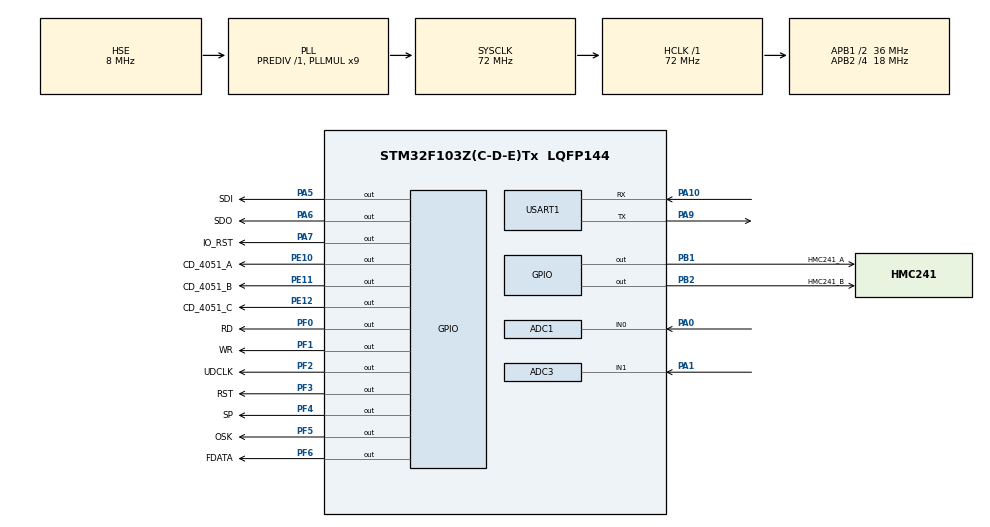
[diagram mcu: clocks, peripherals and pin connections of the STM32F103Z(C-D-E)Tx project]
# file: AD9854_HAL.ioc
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ADC1.Channel-0\#ChannelRegularConversion=ADC_CHANNEL_0
ADC1.ExternalTrigConv=ADC_EXTERNALTRIGCONV_T8_TRGO
ADC1.NbrOfConversionFlag=1
ADC1.Rank-0\#ChannelRegularConversion=1
ADC1.SamplingTime-0\#ChannelRegularConversion=ADC_SAMPLETIME_1CYCLE_5
ADC1.master=1
ADC3.Channel-1\#ChannelRegularConversion=ADC_CHANNEL_1
ADC3.ContinuousConvMode=DISABLE
ADC3.ExternalTrigConv=ADC_EXTERNALTRIGCONV_T8_TRGO
ADC3.NbrOfConversionFlag=1
ADC3.Rank-1\#ChannelRegularConversion=1
ADC3.SamplingTime-1\#ChannelRegularConversion=ADC_SAMPLETIME_1CYCLE_5
Dma.ADC1.0.Direction=DMA_PERIPH_TO_MEMORY
Dma.ADC1.0.Instance=DMA1_Channel1
Dma.ADC1.0.MemDataAlignment=DMA_MDATAALIGN_HALFWORD
Dma.ADC1.0.MemInc=DMA_MINC_ENABLE
Dma.ADC1.0.Mode=DMA_NORMAL
Dma.ADC1.0.PeriphDataAlignment=DMA_PDATAALIGN_HALFWORD
Dma.ADC1.0.PeriphInc=DMA_PINC_DISABLE
Dma.ADC1.0.Priority=DMA_PRIORITY_HIGH
Dma.ADC3.1.Direction=DMA_PERIPH_TO_MEMORY
Dma.ADC3.1.Instance=DMA2_Channel5
Dma.ADC3.1.MemDataAlignment=DMA_MDATAALIGN_HALFWORD
Dma.ADC3.1.MemInc=DMA_MINC_ENABLE
Dma.ADC3.1.Mode=DMA_NORMAL
Dma.ADC3.1.PeriphDataAlignment=DMA_PDATAALIGN_HALFWORD
Dma.ADC3.1.PeriphInc=DMA_PINC_DISABLE
Dma.ADC3.1.Priority=DMA_PRIORITY_HIGH
Dma.Request0=ADC1
Dma.Request1=ADC3
Mcu.Family=STM32F1
Mcu.Name=STM32F103Z(C-D-E)Tx
Mcu.Package=LQFP144
NVIC.DMA1_Channel1_IRQn=true\:0\:0\:false\:false\:true\:false\:true\:true
NVIC.DMA2_Channel4_5_IRQn=true\:0\:0\:false\:false\:true\:false\:true\:true
NVIC.PriorityGroup=NVIC_PRIORITYGROUP_4
NVIC.TIM8_UP_IRQn=true\:0\:0\:false\:false\:true\:true\:true\:true
NVIC.USART1_IRQn=true\:0\:0\:false\:false\:true\:true\:true\:true
OSC_IN.Mode=HSE-External-Oscillator
OSC_IN.Signal=RCC_OSC_IN
OSC_OUT.Mode=HSE-External-Oscillator
OSC_OUT.Signal=RCC_OSC_OUT
PA0-WKUP.Signal=ADCx_IN0
PA1.Signal=ADCx_IN1
PA10.Mode=Asynchronous
PA10.Signal=USART1_RX
PA13.Mode=Serial_Wire
PA13.Signal=SYS_JTMS-SWDIO
PA14.Mode=Serial_Wire
PA14.Signal=SYS_JTCK-SWCLK
PA5.GPIO_Label=SDI
PA5.GPIO_PuPd=GPIO_PULLUP
PA5.GPIO_Speed=GPIO_SPEED_FREQ_HIGH
PA5.Signal=GPIO_Output
PA6.GPIO_Label=SDO
PA6.GPIO_PuPd=GPIO_PULLUP
PA6.GPIO_Speed=GPIO_SPEED_FREQ_HIGH
PA6.Signal=GPIO_Output
PA7.GPIO_Label=IO_RST
PA7.GPIO_PuPd=GPIO_PULLUP
PA7.GPIO_Speed=GPIO_SPEED_FREQ_HIGH
PA7.Signal=GPIO_Output
PA9.Mode=Asynchronous
PA9.Signal=USART1_TX
PB1.GPIO_Label=HMC241_A
PB1.GPIO_ModeDefaultOutputPP=GPIO_MODE_OUTPUT_PP
PB1.GPIO_PuPd=GPIO_PULLUP
PB1.GPIO_Speed=GPIO_SPEED_FREQ_HIGH
PB1.Signal=GPIO_Output
PB2.GPIO_Label=HMC241_B
PB2.GPIO_ModeDefaultOutputPP=GPIO_MODE_OUTPUT_PP
PB2.GPIO_PuPd=GPIO_PULLUP
PB2.GPIO_Speed=GPIO_SPEED_FREQ_HIGH
PB2.Signal=GPIO_Output
PE10.GPIO_Label=CD_4051_A
PE10.GPIO_PuPd=GPIO_PULLUP
PE10.GPIO_Speed=GPIO_SPEED_FREQ_HIGH
PE10.Signal=GPIO_Output
PE11.GPIO_Label=CD_4051_B
PE11.GPIO_PuPd=GPIO_PULLUP
PE11.GPIO_Speed=GPIO_SPEED_FREQ_HIGH
PE11.Signal=GPIO_Output
PE12.GPIO_Label=CD_4051_C
PE12.GPIO_PuPd=GPIO_PULLUP
PE12.GPIO_Speed=GPIO_SPEED_FREQ_HIGH
PE12.Signal=GPIO_Output
PF0.GPIO_Label=RD
PF0.GPIO_PuPd=GPIO_PULLUP
PF0.GPIO_Speed=GPIO_SPEED_FREQ_HIGH
PF0.Signal=GPIO_Output
PF1.GPIO_Label=WR
PF1.GPIO_PuPd=GPIO_PULLUP
PF1.GPIO_Speed=GPIO_SPEED_FREQ_HIGH
PF1.Signal=GPIO_Output
PF2.GPIO_Label=UDCLK
PF2.GPIO_PuPd=GPIO_PULLUP
PF2.GPIO_Speed=GPIO_SPEED_FREQ_HIGH
PF2.Signal=GPIO_Output
PF3.GPIO_Label=RST
PF3.GPIO_PuPd=GPIO_PULLUP
PF3.GPIO_Speed=GPIO_SPEED_FREQ_HIGH
PF3.Signal=GPIO_Output
PF4.GPIO_Label=SP
PF4.GPIO_PuPd=GPIO_PULLUP
PF4.GPIO_Speed=GPIO_SPEED_FREQ_HIGH
PF4.Signal=GPIO_Output
PF5.GPIO_Label=OSK
PF5.GPIO_PuPd=GPIO_PULLUP
PF5.GPIO_Speed=GPIO_SPEED_FREQ_HIGH
PF5.Signal=GPIO_Output
PF6.GPIO_Label=FDATA
PF6.GPIO_PuPd=GPIO_PULLUP
PF6.GPIO_Speed=GPIO_SPEED_FREQ_HIGH
PF6.Signal=GPIO_Output
ProjectManager.HeapSize=0x2000
ProjectManager.StackSize=0x2000
ProjectManager.TargetToolchain=MDK-ARM V5.32
RCC.ADCPresc=RCC_ADCPCLK2_DIV6
RCC.AHBFreq_Value=72000000
RCC.APB1CLKDivider=RCC_HCLK_DIV2
RCC.APB1Freq_Value=36000000
RCC.APB1TimFreq_Value=72000000
RCC.APB2CLKDivider=RCC_HCLK_DIV4
RCC.APB2Freq_Value=18000000
RCC.APB2TimFreq_Value=36000000
RCC.HCLKFreq_Value=72000000
RCC.PLLMUL=RCC_PLL_MUL9
RCC.PLLSourceVirtual=RCC_PLLSOURCE_HSE
RCC.SYSCLKFreq_VALUE=72000000
RCC.SYSCLKSource=RCC_SYSCLKSOURCE_PLLCLK
RCC.USBFreq_Value=72000000
SH.ADCx_IN0.0=ADC1_IN0,IN0
SH.ADCx_IN1.0=ADC3_IN1,IN1
STMicroelectronics.X-CUBE-ALGOBUILD.1.4.0.LibraryCcDSPOoLibraryJjDSPOoLibrary=true
TIM8.AutoReloadPreload=TIM_AUTORELOAD_PRELOAD_ENABLE
TIM8.Period=360-1
TIM8.TIM_MasterOutputTrigger=TIM_TRGO_UPDATE
USART1.VirtualMode=VM_ASYNC
VP_STMicroelectronics.X-CUBE-ALGOBUILD_VS_DSPOoLibraryJjLibrary_1.4.0_1.4.0.Mode=DSPOoLibraryJjLibrary
VP_TIM8_VS_ClockSourceINT.Mode=Internal
board=custom

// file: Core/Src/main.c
/* USER CODE BEGIN Header */
/**
 ******************************************************************************
 * @file           : main.c
 * @brief          : Main program body
 ******************************************************************************
 * @attention
 *
 * Copyright (c) 2025 STMicroelectronics.
 * All rights reserved.
 *
 * This software is licensed under terms that can be found in the LICENSE file
 * in the root directory of this software component.
 * If no LICENSE file comes with this software, it is provided AS-IS.
 *
 ******************************************************************************
 */
/* USER CODE END Header */
#include "main.h"
#include "adc.h"
#include "dma.h"
#include "tim.h"
#include "usart.h"
#include "gpio.h"

/* USER CODE BEGIN Includes */
#include "AD9854.h"
#include "HMC241.h"
#include "CD4051.h"
#include "math.h"
#include "FFT.h"
#include "CmdAnalysis.h"
// #include "CmdAnalysis.h"
/* USER CODE END Includes */

/* USER CODE BEGIN PD */
#define PRODUCTION_MODE 1
#define DEVELOPMENT_MODE 0
/* USER CODE END PD */

/* USER CODE BEGIN PV */
extern UART_HandleTypeDef huart1;
uint8_t Buffer[1];
uint16_t adc_buff1[FFT_LENGTH];
uint16_t adc_buff3[FFT_LENGTH];

// ! AM,FM parmeter here
float amModu = 0.f;
float fmModu = 0.f;
uint16_t mainFreqAM = 1000;
uint16_t mainFreqFM = 1000;
uint16_t up=1000;
uint16_t down=1000;
uint16_t mode = 0;

uint8_t CarrierFreq = 20;
uint16_t AmpAMMax = 0;
uint16_t AmpFMMax = 0;
uint16_t AmpAMMin = 99999;
uint16_t AmpFMMin = 99999;
// uint32_t AmpAveAM = 0;
// uint32_t AmpAveFM = 0;

extern float thrid_output_F;

extern float thrid_output_A;

/* USER CODE END PV */

void SystemClock_Config(void);

/* USER CODE BEGIN 0 */
// ! USART HERE
int fputc(int ch, FILE *f)
{
  HAL_UART_Transmit(&huart1, (uint8_t *)&ch, 1, 0xffff);
  return ch;
}

int fgetc(FILE *f)
{
  uint8_t ch = 0;
  HAL_UART_Receive(&huart1, &ch, 1, 0xffff);
  return ch;
}

void HAL_UART_RxCpltCallback(UART_HandleTypeDef *huart)
{
  if (huart->Instance == USART1)
  {
    CarrierFreq = Buffer[0];
    if (Buffer[0] == 'T') {
      printf("%f", amModu);
    }
    HAL_UART_Receive_IT(&huart1, (uint8_t *)Buffer, 1);
  }
}
// ! PROGRAM HERE

#define length 20
uint16_t last_length = 20;
uint16_t _last_AmpAMMax[length] = {0};
uint16_t _last_AmpAMMin[length] = {0};
uint16_t _last_AmpFMMax[length] = {0} ;
uint16_t _last_AmpFMMin[length] = {0} ;

void extract_both_amplitudes() {
  float _AmpAMMax = 0;
  float _AmpAMMin = 0xFFFF;
  float _AmpFMMax = 0;
  float _AmpFMMin = 0xFFFF;
  // 处理AM信号
  for (int i = 0; i < last_length-1; i++)
  {
    _last_AmpAMMax[i] = _last_AmpAMMax[i+1];
    _last_AmpAMMin[i] = _last_AmpAMMin[i+1];
    _last_AmpFMMax[i] = _last_AmpFMMax[i+1];
    _last_AmpFMMin[i] = _last_AmpFMMin[i+1];
  }

  _AmpAMMax = 0;
  _AmpAMMin = 0xFFFF;
  _AmpFMMax = 0;
  _AmpFMMin = 0xFFFF;

  for(int i = 0; i < FFT_LENGTH; i++) {
      // 处理AM信号
      if(adc_buff1[i] > _AmpAMMax) _AmpAMMax = adc_buff1[i];
      if(adc_buff1[i] < _AmpAMMin) _AmpAMMin = adc_buff1[i];

      // 处理FM信号
      if(adc_buff3[i] > _AmpFMMax) _AmpFMMax = adc_buff3[i];
      if(adc_buff3[i] < _AmpFMMin) _AmpFMMin = adc_buff3[i];
  }
  _last_AmpAMMax[last_length-1] = _AmpAMMax;
  _last_AmpAMMin[last_length-1] = _AmpAMMin;
  _last_AmpFMMax[last_length-1] = _AmpFMMax;
  _last_AmpFMMin[last_length-1] = _AmpFMMin;
  AmpAMMax = sum(_last_AmpAMMax, last_length) / last_length;
  AmpAMMin = sum(_last_AmpAMMin, last_length) / last_length;
  AmpFMMax = sum(_last_AmpFMMax, last_length) / last_length;
  AmpFMMin = sum(_last_AmpFMMin, last_length) / last_length;

  // 自动更新调制参数
  amModu = (float)(AmpAMMax - AmpAMMin) / (AmpAMMax + AmpAMMin);
  fmModu = (float)(AmpFMMax - AmpFMMin);
}

uint16_t calculateMaxFreqOffset(float modu)
{
  //! modu = max/mainfreq
  return modu * mainFreqFM;
}

uint8_t judgeCW(){
  if (AmpAMMax-AmpAMMin<200 && AmpFMMax-AmpFMMin<150) return 1;
  else return 0;
}

void judgeAMFMCW(float am, float fm)
{
  uint8_t _am = am > 0.08f ? 1 : 0;
  uint8_t _fm = fm > 0.06f ? 1 : 0;
  uint8_t _fsk = thrid_output_F > 0.04 ? 1 : 0;
  uint8_t _ask = thrid_output_A > 0.06 ? 1 : 0;
  if (mainFreqFM == 3000)
    _fsk = thrid_output_F > 0.017 ? 1 : 0;
  else if (mainFreqFM == 2000)
  {
    _fsk = thrid_output_F > 0.03 ? 1 : 0;
  }

  #if DEVELOPMENT_MODE
    printf("FSK:%.3f\t ASK:%.3f\n",thrid_output_F,thrid_output_A);
  #endif
  if(judgeCW() == 1) {
    #if DEVELOPMENT_MODE
      printType(JudgeType(CW_TYPE));
    #endif
    #if PRODUCTION_MODE
      CW();
      Modulation(0);
      ModFreq(0);
      OffsetFreq(0);
      Kf(0);
      Rc(0);
    #endif
  } else {
    // ! classified as No-CW
    if (AmpAMMax-AmpAMMin<200) {
      HMC241_Set_Channel(2);
      // ! classified as FM or FSK
      if (_fsk == 1 ) {
        #if DEVELOPMENT_MODE
          printType(JudgeType(FSK_TYPE));
        #endif
        CD_4051_SetChannel(4);
        #if PRODUCTION_MODE
          FSK();
          Modulation(0);
          ModFreq(mainFreqFM*10);
          OffsetFreq(0);
          Kf((int)round(calculateFSKShift(fmModu,mainFreqFM))*100);
          Rc(20*mainFreqFM);
        #endif
      } else {
        #if DEVELOPMENT_MODE
          printType(JudgeType(FM_TYPE));
        #endif
        CD_4051_SetChannel(3);
        #if PRODUCTION_MODE
          FM();
          Modulation((int)round(calculateFMModulate(fmModu,mainFreqFM)*100));
          ModFreq(mainFreqFM*10);
          OffsetFreq((int)round(calculateMaxFreqOffset(calculateFMModulate(fmModu,mainFreqFM)))*10);
          Kf(0);
          Rc(0);
        #endif
      }
    } else {
      HMC241_Set_Channel(3);
      if (_ask == 1) {
        // ! classified as ASK
        #if DEVELOPMENT_MODE
          printType(JudgeType(ASK_TYPE));
        #endif
        CD_4051_SetChannel(2);
        #if PRODUCTION_MODE
          ASK();
          Modulation(0);
          ModFreq(mainFreqAM*10);
          OffsetFreq(0);
          Rc(20*mainFreqAM);
          Kf(0);
        #endif
      } else {
        // ! classified as AM
        #if DEVELOPMENT_MODE
          printType(JudgeType(AM_TYPE));
        #endif
        CD_4051_SetChannel(3);
        #if PRODUCTION_MODE
          AM();
          Modulation((int)round(calculateAMModulate(amModu,CarrierFreq)*100));
          ModFreq(mainFreqAM*10);
          OffsetFreq(0);
          Kf(0);
          Rc(0);
        #endif
      }
    }
  }
}

void loop()
{
  mainFreqAM = round(find_dominant_frequency(adc_buff1, 100000,2)/100)*100;
  mainFreqFM = round(find_dominant_frequency(adc_buff3,100000,1)/100)*100;
  HAL_ADC_Start_DMA(&hadc1, (uint32_t *)adc_buff1, FFT_LENGTH);
  HAL_ADC_Start_DMA(&hadc3, (uint32_t *)adc_buff3, FFT_LENGTH);
  extract_both_amplitudes();
  #if DEVELOPMENT_MODE
    printf("amModu:%.3f\r\n",calculateAMModulate(amModu,CarrierFreq));
  #endif

  judgeAMFMCW(calculateAMModulate(amModu,CarrierFreq), calculateFMModulate(fmModu,mainFreqFM));

  HAL_Delay(50);
}
/* USER CODE END 0 */

int main(void)
{

  /* MCU Configuration--------------------------------------------------------*/

  /* Reset of all peripherals, Initializes the Flash interface and the Systick. */
  HAL_Init();

  /* Configure the system clock */
  SystemClock_Config();

  /* Initialize all configured peripherals */
  MX_GPIO_Init();
  MX_DMA_Init();
  MX_ADC1_Init();
  MX_ADC3_Init();
  MX_USART1_UART_Init();
  MX_TIM8_Init();
  /* USER CODE BEGIN 2 */
  AD9854_Init();
  HAL_Delay(10);
  AD9854_SetSine(75000000, 2047);
  HAL_UART_Receive_IT(&huart1, (uint8_t *)Buffer, 1);

  HAL_TIM_Base_Start(&htim8);
  HAL_ADC_Start_DMA(&hadc1, (uint32_t *)adc_buff1, 1024);
  HAL_ADC_Start_DMA(&hadc3, (uint32_t *)adc_buff3, 1024);
  /* USER CODE END 2 */

  /* Infinite loop */
  /* USER CODE BEGIN WHILE */

  HMC241_Set_Channel(3);
  CD_4051_SetChannel(3);
  while (1)
  {
    loop();
    /* USER CODE END WHILE */

  }
}

void SystemClock_Config(void)
{
  RCC_OscInitTypeDef RCC_OscInitStruct = {0};
  RCC_ClkInitTypeDef RCC_ClkInitStruct = {0};
  RCC_PeriphCLKInitTypeDef PeriphClkInit = {0};

  /** Initializes the RCC Oscillators according to the specified parameters
  * in the RCC_OscInitTypeDef structure.
  */
  RCC_OscInitStruct.OscillatorType = RCC_OSCILLATORTYPE_HSE;
  RCC_OscInitStruct.HSEState = RCC_HSE_ON;
  RCC_OscInitStruct.HSEPredivValue = RCC_HSE_PREDIV_DIV1;
  RCC_OscInitStruct.HSIState = RCC_HSI_ON;
  RCC_OscInitStruct.PLL.PLLState = RCC_PLL_ON;
  RCC_OscInitStruct.PLL.PLLSource = RCC_PLLSOURCE_HSE;
  RCC_OscInitStruct.PLL.PLLMUL = RCC_PLL_MUL9;
  if (HAL_RCC_OscConfig(&RCC_OscInitStruct) != HAL_OK)
  {
    Error_Handler();
  }

  /** Initializes the CPU, AHB and APB buses clocks
  */
  RCC_ClkInitStruct.ClockType = RCC_CLOCKTYPE_HCLK|RCC_CLOCKTYPE_SYSCLK
                              |RCC_CLOCKTYPE_PCLK1|RCC_CLOCKTYPE_PCLK2;
  RCC_ClkInitStruct.SYSCLKSource = RCC_SYSCLKSOURCE_PLLCLK;
  RCC_ClkInitStruct.AHBCLKDivider = RCC_SYSCLK_DIV1;
  RCC_ClkInitStruct.APB1CLKDivider = RCC_HCLK_DIV2;
  RCC_ClkInitStruct.APB2CLKDivider = RCC_HCLK_DIV4;

  if (HAL_RCC_ClockConfig(&RCC_ClkInitStruct, FLASH_LATENCY_2) != HAL_OK)
  {
    Error_Handler();
  }
  PeriphClkInit.PeriphClockSelection = RCC_PERIPHCLK_ADC;
  PeriphClkInit.AdcClockSelection = RCC_ADCPCLK2_DIV6;
  if (HAL_RCCEx_PeriphCLKConfig(&PeriphClkInit) != HAL_OK)
  {
    Error_Handler();
  }
}

void Error_Handler(void)
{
  __disable_irq();
  while (1)
  {
  }
}
